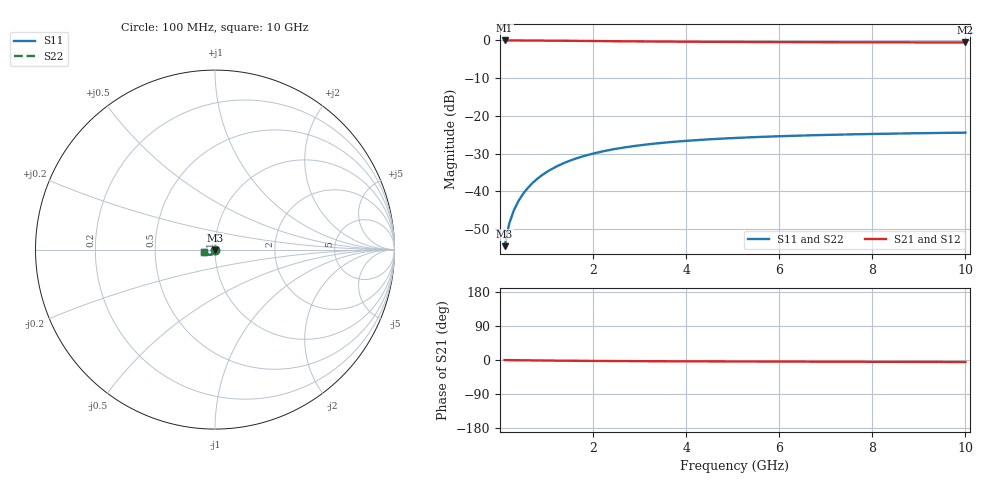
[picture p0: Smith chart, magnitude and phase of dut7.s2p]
! Touchstone file exported from HFSS 2024.1.0
!  File:  C:/UserFiles/LocalFiles/RDL_TSV_Batchsim/temp_TSV1_7_1778746283.aedt
!  Generated:  04:16:10 PM May 14, 2026
!  Design:  TSV1
!  Project:  temp_TSV1_7_1778746283
!  Setup:  Setup1
!  Solution:  Sweep
! Variables:
!  dtsv = 14.94um
!  hbump = 3um
!  htsv = 80.34um
!  lrdl = 252.1521522um
!  p = 40
!  p1 = 55.49um
!  t = 500um
!  trdl = 3um
!  wrdl = 24.89489489um
# GHz S MA R 50.000000
! Terminal data exported
! Port[1] = TSV22_T1
! Port[2] = TSV22_T2
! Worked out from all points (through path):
!   100 points, 100 MHz to 10 GHz, reference 50 ohm
!   highest |S21| = 0.00 dB at 100 MHz (marker M1); lowest = -0.5 dB at 10 GHz (marker M2)
!   lowest |S11| = -54.5 dB at 100 MHz (marker M3), VSWR 1.00, Z = 50 - j0.188 ohm
!   |S11| at or under -10 dB: start of sweep to end of sweep
!   |S22| runs from -54.5 to -24.4 dB; largest |S21 - S12| = 8.7e-15
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0.1  0.001884 -89.5  0.9999 -0.2  0.9999 -0.2  0.001884 -89.5
! Gamma 0 0 0 0
! Port Impedance 50 0 50 0
0.2  0.003766 -92.4  0.9996 -0.3  0.9996 -0.3  0.003766 -92.4
0.3  0.005644 -94.7  0.9993 -0.5  0.9993 -0.5  0.005644 -94.7
0.4  0.007508 -96.8  0.9989 -0.6  0.9989 -0.6  0.007508 -96.8
0.5  0.00935 -98.8  0.9983 -0.8  0.9983 -0.8  0.00935 -98.8
0.6  0.01116 -100.7  0.9977 -0.9  0.9977 -0.9  0.01116 -100.7
0.7  0.01294 -102.6  0.9969 -1.0  0.9969 -1.0  0.01294 -102.6
0.8  0.01468 -104.5  0.9961 -1.2  0.9961 -1.2  0.01468 -104.5
0.9  0.01637 -106.3  0.9952 -1.3  0.9952 -1.3  0.01637 -106.3
1.1  0.01962 -109.8  0.9932 -1.6  0.9932 -1.6  0.01962 -109.8
1.4  0.02412 -114.7  0.9898 -1.9  0.9898 -1.9  0.02412 -114.7
1.6  0.02685 -117.8  0.9874 -2.1  0.9874 -2.1  0.02685 -117.8
1.8  0.02938 -120.7  0.985 -2.3  0.985 -2.3  0.02938 -120.7
2.1  0.0328 -124.7  0.9814 -2.5  0.9814 -2.5  0.0328 -124.7
2.5  0.03673 -129.5  0.9768 -2.8  0.9768 -2.8  0.03673 -129.5
2.9  0.04004 -133.7  0.9726 -3.0  0.9726 -3.0  0.04004 -133.7
3.4  0.04347 -138.3  0.9678 -3.2  0.9678 -3.2  0.04347 -138.3
4.2  0.04771 -144.4  0.9615 -3.5  0.9615 -3.5  0.04771 -144.4
5.1  0.05122 -149.9  0.956 -3.8  0.956 -3.8  0.05121 -149.9
6.7  0.05543 -157.4  0.9489 -4.3  0.9489 -4.3  0.05543 -157.4
8.4  0.05828 -163.4  0.944 -4.8  0.944 -4.8  0.05827 -163.4
10  0.06009 -168.0  0.9408 -5.3  0.9408 -5.3  0.06009 -168.0
